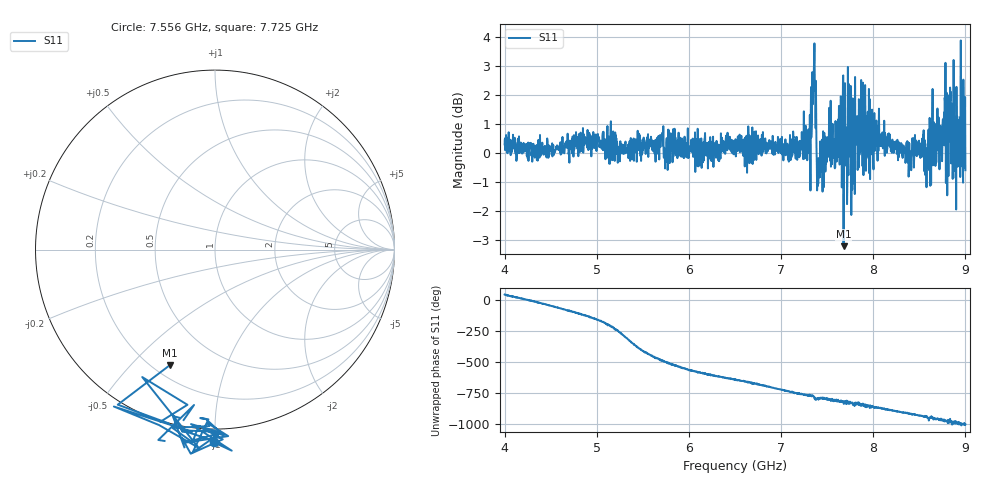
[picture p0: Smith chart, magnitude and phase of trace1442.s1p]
! Created with skrf 1.8.0 (http://scikit-rf.org).
# Hz S RI R 50.0
!freq ReS11 ImS11
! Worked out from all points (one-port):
!   1601 points, 4 GHz to 9 GHz, reference 50 ohm
!   lowest |S11| = -3.2 dB at 7.678 GHz (marker M1), VSWR 5.50, Z = 13.1 - j32.5 ohm
!   |S11| at or under -10 dB: nowhere
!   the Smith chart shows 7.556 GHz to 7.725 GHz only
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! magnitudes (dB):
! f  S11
! 4 GHz  0.3
! 4.625 GHz  0.1
! 4.894 GHz  0.2
! 5.25 GHz  -0.3
! 5.875 GHz  -0.2
! 6.5 GHz  0.2
! 7.125 GHz  0.5
! 7.294 GHz  0.2
! 7.356 GHz  2.9
! 7.412 GHz  -0.5
! 7.512 GHz  0.3
! 7.594 GHz  0.2
! 7.65 GHz  1.9
! 7.678 GHz  -3.2
! 7.703 GHz  0.2
! 7.75 GHz  -0.1
! 7.775 GHz  1.8
! 7.8 GHz  -1.4
! 7.891 GHz  0.3
! 7.981 GHz  0.3
! 8.038 GHz  0.5
! 8.375 GHz  0.0
! 8.522 GHz  0.2
! 8.581 GHz  -0.3
! 8.834 GHz  2.3
! 8.919 GHz  0.0
! 8.972 GHz  0.8
! 9 GHz  -0.6
